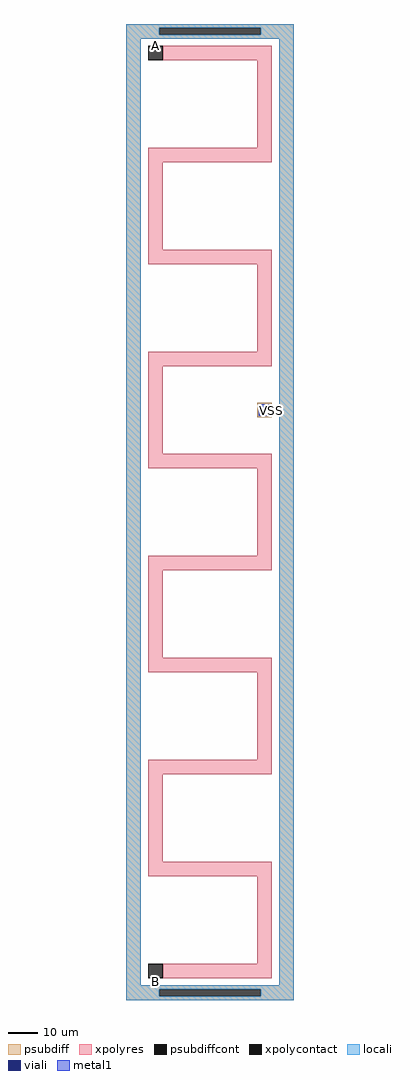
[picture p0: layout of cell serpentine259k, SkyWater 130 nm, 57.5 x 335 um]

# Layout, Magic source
magic
tech sky130A
<< psubdiff >>
rect -750 -2875 5000 -2750
rect -750 -3125 375 -2875
rect 3875 -3125 5000 -2875
rect -750 -3250 5000 -3125
rect -750 -35750 -250 -3250
rect 3750 -15900 4250 -15750
rect 3750 -16100 3900 -15900
rect 4100 -16100 4250 -15900
rect 3750 -16250 4250 -16100
rect 4500 -35750 5000 -3250
rect -750 -35875 5000 -35750
rect -750 -36125 375 -35875
rect 3875 -36125 5000 -35875
rect -750 -36250 5000 -36125
<< psubdiffcont >>
rect 375 -3125 3875 -2875
rect 3900 -16100 4100 -15900
rect 375 -36125 3875 -35875
<< xpolycontact >>
rect 0 -4000 500 -3500
rect 0 -35500 500 -35000
<< xpolyres >>
rect 500 -4000 4250 -3500
rect 3750 -7000 4250 -4000
rect 0 -7500 4250 -7000
rect 0 -10500 500 -7500
rect 0 -11000 4250 -10500
rect 3750 -14000 4250 -11000
rect 0 -14500 4250 -14000
rect 0 -17500 500 -14500
rect 0 -18000 4250 -17500
rect 3750 -21000 4250 -18000
rect 0 -21500 4250 -21000
rect 0 -24500 500 -21500
rect 0 -25000 4250 -24500
rect 3750 -28000 4250 -25000
rect 0 -28500 4250 -28000
rect 0 -31500 500 -28500
rect 0 -32000 4250 -31500
rect 3750 -35000 4250 -32000
rect 500 -35500 4250 -35000
<< locali >>
rect -750 -2875 5000 -2750
rect -750 -3125 375 -2875
rect 3875 -3125 5000 -2875
rect -750 -3250 5000 -3125
rect -750 -35750 -250 -3250
rect 3800 -15900 4200 -15800
rect 3800 -16100 3900 -15900
rect 4100 -16100 4200 -15900
rect 3800 -16200 4200 -16100
rect 4500 -35750 5000 -3250
rect -750 -35875 5000 -35750
rect -750 -36125 375 -35875
rect 3875 -36125 5000 -35875
rect -750 -36250 5000 -36125
<< viali >>
rect 3900 -16100 4100 -15900
<< metal1 >>
rect 3800 -15900 4200 -15800
rect 3800 -16100 3900 -15900
rect 4100 -16100 4200 -15900
rect 3800 -16200 4200 -16100
<< labels >>
rlabel xpolycontact 250 -3500 250 -3500 1 A
rlabel space 0 -35750 500 -35500 1 B
rlabel space 4250 -16000 4250 -16000 3 VSS
<< end >>
